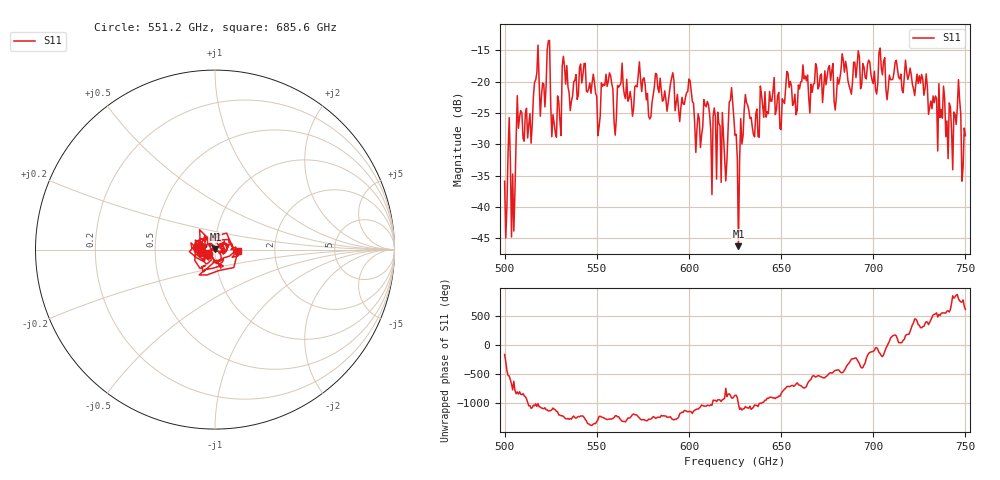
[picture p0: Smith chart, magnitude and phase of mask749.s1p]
!Created with skrf (http://scikit-rf.org).
# GHz S MA R 50.0
!freq magS11 angS11
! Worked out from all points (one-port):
!   401 points, 500 GHz to 750 GHz, reference 50 ohm
!   lowest |S11| = -46.2 dB at 626.9 GHz (marker M1), VSWR 1.01, Z = 50.2 + j0.424 ohm
!   |S11| at or under -10 dB: start of sweep to end of sweep
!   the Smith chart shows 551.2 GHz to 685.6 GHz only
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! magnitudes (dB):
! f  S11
! 500 GHz  -35.9
! 503.1 GHz  -32.6
! 505 GHz  -43.8
! 507.5 GHz  -27.5
! 513.8 GHz  -25.1
! 517.5 GHz  -18.6
! 520.6 GHz  -20.2
! 523.8 GHz  -13.5
! 526.9 GHz  -26.6
! 531.2 GHz  -17.6
! 542.5 GHz  -18.9
! 550.6 GHz  -28.6
! 562.5 GHz  -20.6
! 593.8 GHz  -22.1
! 600 GHz  -19.6
! 605 GHz  -25.1
! 609.4 GHz  -24.0
! 618.8 GHz  -28.5
! 622.5 GHz  -23.0
! 625 GHz  -28.6
! 626.9 GHz  -46.2
! 631.2 GHz  -23.4
! 656.2 GHz  -23.8
! 687.5 GHz  -21.3
! 718.8 GHz  -19.7
! 741.9 GHz  -24.1
! 746.2 GHz  -19.7
! 750 GHz  -28.6
